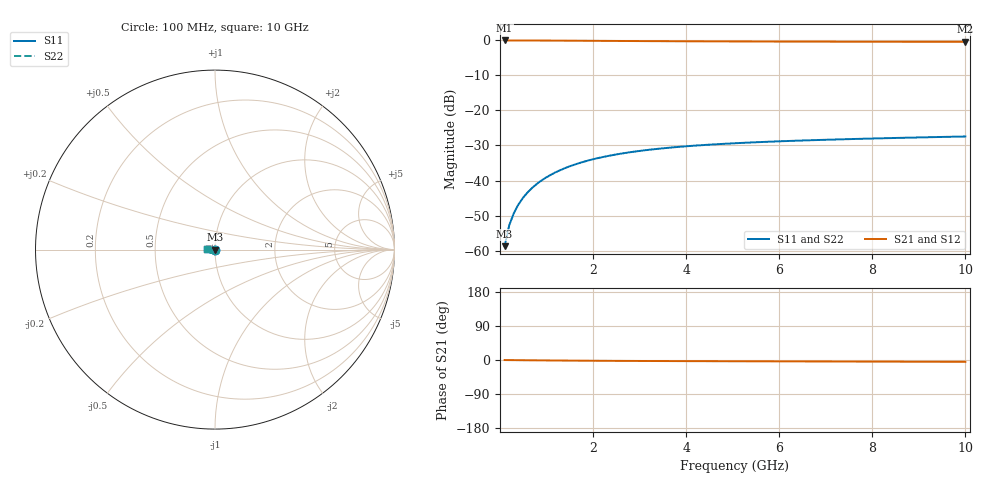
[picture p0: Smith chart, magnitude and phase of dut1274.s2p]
! Touchstone file exported from HFSS 2024.1.0
!  File:  C:/UserFiles/LocalFiles/RDL_TSV_Batchsim/temp_TSV1_1274_1780254706.aedt
!  Generated:  03:16:04 AM Jun  1, 2026
!  Design:  TSV1
!  Project:  temp_TSV1_1274_1780254706
!  Setup:  Setup1
!  Solution:  Sweep
! Variables:
!  dtsv = 10.52um
!  hbump = 3um
!  htsv = 73.43um
!  lrdl = 252.1521522um
!  p = 40
!  p1 = 53.93um
!  t = 500um
!  trdl = 3um
!  wrdl = 24.89489489um
# GHz S MA R 50.000000
! Terminal data exported
! Port[1] = TSV22_T1
! Port[2] = TSV22_T2
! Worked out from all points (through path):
!   100 points, 100 MHz to 10 GHz, reference 50 ohm
!   highest |S21| = 0.00 dB at 100 MHz (marker M1); lowest = -0.4 dB at 10 GHz (marker M2)
!   lowest |S11| = -58.8 dB at 100 MHz (marker M3), VSWR 1.00, Z = 50 - j0.115 ohm
!   |S11| at or under -10 dB: start of sweep to end of sweep
!   |S22| runs from -58.8 to -27.4 dB; largest |S21 - S12| = 6.5e-15
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0.1  0.001154 -85.8  0.9998 -0.1  0.9998 -0.1  0.001154 -85.8
! Gamma 0 0 0 0
! Port Impedance 50 0 50 0
0.2  0.002299 -90.6  0.9997 -0.2  0.9997 -0.2  0.002299 -90.6
0.3  0.003444 -93.5  0.9995 -0.4  0.9995 -0.4  0.003444 -93.5
0.4  0.004585 -95.9  0.9992 -0.5  0.9992 -0.5  0.004585 -95.9
0.5  0.005716 -98.1  0.9988 -0.6  0.9988 -0.6  0.005717 -98.1
0.6  0.006835 -100.3  0.9984 -0.7  0.9984 -0.7  0.006835 -100.3
0.7  0.007938 -102.3  0.9979 -0.8  0.9979 -0.8  0.007938 -102.3
0.8  0.009023 -104.3  0.9974 -0.9  0.9974 -0.9  0.009023 -104.3
0.9  0.01009 -106.2  0.9968 -1.0  0.9968 -1.0  0.01009 -106.2
1.1  0.01215 -110.0  0.9955 -1.2  0.9955 -1.2  0.01215 -110.0
1.4  0.01504 -115.4  0.9932 -1.5  0.9932 -1.5  0.01504 -115.4
1.6  0.01684 -118.8  0.9915 -1.7  0.9915 -1.7  0.01684 -118.8
1.8  0.01852 -122.0  0.9898 -1.8  0.9898 -1.8  0.01852 -122.0
2.1  0.02084 -126.7  0.9872 -2.0  0.9872 -2.0  0.02084 -126.7
2.5  0.02356 -132.4  0.9838 -2.3  0.9838 -2.3  0.02356 -132.4
2.9  0.02591 -137.6  0.9806 -2.5  0.9806 -2.5  0.02591 -137.6
3.4  0.02838 -143.4  0.9769 -2.7  0.9769 -2.7  0.02838 -143.4
4.2  0.03151 -151.5  0.9719 -3.0  0.9719 -3.0  0.03151 -151.5
5.1  0.03418 -159.2  0.9675 -3.3  0.9675 -3.3  0.03418 -159.2
6.7  0.03763 -170.3  0.9619 -3.8  0.9619 -3.8  0.03763 -170.3
8.4  0.04036 -179.7  0.9581 -4.3  0.9581 -4.3  0.04036 -179.7
10  0.04253 172.9  0.9557 -4.8  0.9557 -4.8  0.04253 172.9
